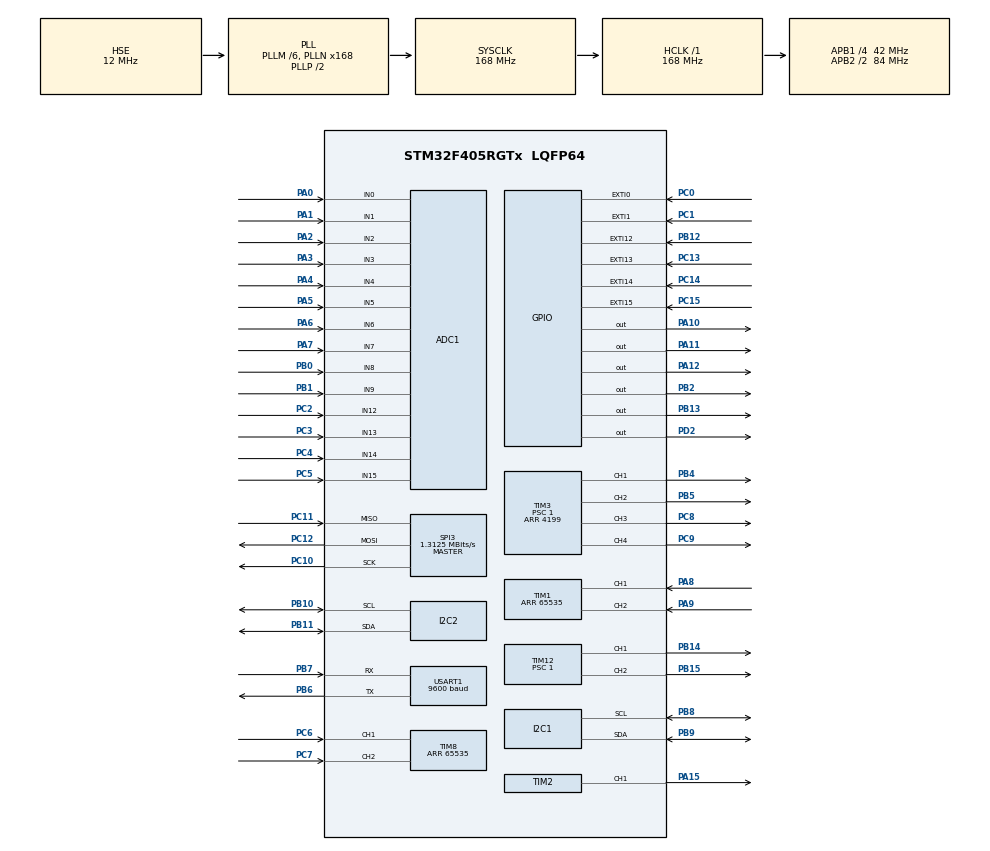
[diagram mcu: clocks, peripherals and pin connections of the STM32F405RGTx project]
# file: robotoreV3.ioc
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ADC1.Channel-0\#ChannelRegularConversion=ADC_CHANNEL_0
ADC1.Channel-1\#ChannelRegularConversion=ADC_CHANNEL_1
ADC1.Channel-10\#ChannelRegularConversion=ADC_CHANNEL_14
ADC1.Channel-11\#ChannelRegularConversion=ADC_CHANNEL_15
ADC1.Channel-12\#ChannelRegularConversion=ADC_CHANNEL_12
ADC1.Channel-13\#ChannelRegularConversion=ADC_CHANNEL_13
ADC1.Channel-2\#ChannelRegularConversion=ADC_CHANNEL_2
ADC1.Channel-3\#ChannelRegularConversion=ADC_CHANNEL_3
ADC1.Channel-4\#ChannelRegularConversion=ADC_CHANNEL_4
ADC1.Channel-5\#ChannelRegularConversion=ADC_CHANNEL_5
ADC1.Channel-6\#ChannelRegularConversion=ADC_CHANNEL_6
ADC1.Channel-7\#ChannelRegularConversion=ADC_CHANNEL_7
ADC1.Channel-8\#ChannelRegularConversion=ADC_CHANNEL_8
ADC1.Channel-9\#ChannelRegularConversion=ADC_CHANNEL_9
ADC1.ContinuousConvMode=ENABLE
ADC1.DMAContinuousRequests=ENABLE
ADC1.InjNumberOfConversion=0
ADC1.NbrOfConversion=14
ADC1.NbrOfConversionFlag=1
ADC1.Rank-0\#ChannelRegularConversion=1
ADC1.Rank-1\#ChannelRegularConversion=2
ADC1.Rank-10\#ChannelRegularConversion=11
ADC1.Rank-11\#ChannelRegularConversion=12
ADC1.Rank-12\#ChannelRegularConversion=13
ADC1.Rank-13\#ChannelRegularConversion=14
ADC1.Rank-2\#ChannelRegularConversion=3
ADC1.Rank-3\#ChannelRegularConversion=4
ADC1.Rank-4\#ChannelRegularConversion=5
ADC1.Rank-5\#ChannelRegularConversion=6
ADC1.Rank-6\#ChannelRegularConversion=7
ADC1.Rank-7\#ChannelRegularConversion=8
ADC1.Rank-8\#ChannelRegularConversion=9
ADC1.Rank-9\#ChannelRegularConversion=10
ADC1.SamplingTime-0\#ChannelRegularConversion=ADC_SAMPLETIME_28CYCLES
ADC1.SamplingTime-1\#ChannelRegularConversion=ADC_SAMPLETIME_28CYCLES
ADC1.SamplingTime-10\#ChannelRegularConversion=ADC_SAMPLETIME_28CYCLES
ADC1.SamplingTime-11\#ChannelRegularConversion=ADC_SAMPLETIME_28CYCLES
ADC1.SamplingTime-12\#ChannelRegularConversion=ADC_SAMPLETIME_28CYCLES
ADC1.SamplingTime-13\#ChannelRegularConversion=ADC_SAMPLETIME_28CYCLES
ADC1.SamplingTime-2\#ChannelRegularConversion=ADC_SAMPLETIME_28CYCLES
ADC1.SamplingTime-3\#ChannelRegularConversion=ADC_SAMPLETIME_28CYCLES
ADC1.SamplingTime-4\#ChannelRegularConversion=ADC_SAMPLETIME_28CYCLES
ADC1.SamplingTime-5\#ChannelRegularConversion=ADC_SAMPLETIME_28CYCLES
ADC1.SamplingTime-6\#ChannelRegularConversion=ADC_SAMPLETIME_28CYCLES
ADC1.SamplingTime-7\#ChannelRegularConversion=ADC_SAMPLETIME_28CYCLES
ADC1.SamplingTime-8\#ChannelRegularConversion=ADC_SAMPLETIME_28CYCLES
ADC1.SamplingTime-9\#ChannelRegularConversion=ADC_SAMPLETIME_28CYCLES
ADC1.ScanConvMode=ENABLE
ADC1.master=1
Dma.ADC1.0.Direction=DMA_PERIPH_TO_MEMORY
Dma.ADC1.0.FIFOMode=DMA_FIFOMODE_DISABLE
Dma.ADC1.0.Instance=DMA2_Stream0
Dma.ADC1.0.MemDataAlignment=DMA_MDATAALIGN_HALFWORD
Dma.ADC1.0.MemInc=DMA_MINC_ENABLE
Dma.ADC1.0.Mode=DMA_CIRCULAR
Dma.ADC1.0.PeriphDataAlignment=DMA_PDATAALIGN_HALFWORD
Dma.ADC1.0.PeriphInc=DMA_PINC_DISABLE
Dma.ADC1.0.Priority=DMA_PRIORITY_LOW
Dma.Request0=ADC1
I2C1.I2C_Mode=I2C_Fast
Mcu.Family=STM32F4
Mcu.Name=STM32F405RGTx
Mcu.Package=LQFP64
NVIC.DMA2_Stream0_IRQn=true\:5\:0\:true\:false\:true\:false\:true
NVIC.EXTI0_IRQn=true\:0\:0\:false\:false\:true\:true\:true
NVIC.EXTI15_10_IRQn=true\:0\:0\:false\:false\:true\:true\:true
NVIC.EXTI1_IRQn=true\:0\:0\:false\:false\:true\:true\:true
NVIC.PriorityGroup=NVIC_PRIORITYGROUP_4
NVIC.TIM6_DAC_IRQn=true\:5\:0\:true\:false\:true\:true\:true
NVIC.TIM7_IRQn=true\:5\:0\:true\:false\:true\:true\:true
PA0-WKUP.Signal=ADCx_IN0
PA1.Signal=ADCx_IN1
PA10.GPIO_Speed=GPIO_SPEED_FREQ_HIGH
PA10.Signal=GPIO_Output
PA11.GPIO_Speed=GPIO_SPEED_FREQ_HIGH
PA11.Signal=GPIO_Output
PA12.Signal=GPIO_Output
PA13.Mode=Trace_Asynchronous_SW
PA13.Signal=SYS_JTMS-SWDIO
PA14.Mode=Trace_Asynchronous_SW
PA14.Signal=SYS_JTCK-SWCLK
PA15.Signal=S_TIM2_CH1_ETR
PA2.Signal=ADCx_IN2
PA3.Signal=ADCx_IN3
PA4.Signal=ADCx_IN4
PA5.Signal=ADCx_IN5
PA6.Signal=ADCx_IN6
PA7.Signal=ADCx_IN7
PA8.Signal=S_TIM1_CH1
PA9.Signal=S_TIM1_CH2
PB0.Signal=ADCx_IN8
PB1.Signal=ADCx_IN9
PB10.Mode=I2C
PB10.Signal=I2C2_SCL
PB11.Mode=I2C
PB11.Signal=I2C2_SDA
PB12.GPIO_PuPd=GPIO_PULLUP
PB12.Signal=GPXTI12
PB13.Signal=GPIO_Output
PB14.Signal=S_TIM12_CH1
PB15.Signal=S_TIM12_CH2
PB2.Signal=GPIO_Output
PB3.Mode=Trace_Asynchronous_SW
PB3.Signal=SYS_JTDO-SWO
PB4.Signal=S_TIM3_CH1
PB5.Signal=S_TIM3_CH2
PB6.Mode=Asynchronous
PB6.Signal=USART1_TX
PB7.Mode=Asynchronous
PB7.Signal=USART1_RX
PB8.Mode=I2C
PB8.Signal=I2C1_SCL
PB9.Mode=I2C
PB9.Signal=I2C1_SDA
PC0.GPIO_ModeDefaultEXTI=GPIO_MODE_IT_RISING
PC0.GPIO_PuPd=GPIO_PULLUP
PC0.Signal=GPXTI0
PC1.GPIO_PuPd=GPIO_PULLUP
PC1.Signal=GPXTI1
PC10.Mode=Full_Duplex_Master
PC10.Signal=SPI3_SCK
PC11.Mode=Full_Duplex_Master
PC11.Signal=SPI3_MISO
PC12.Mode=Full_Duplex_Master
PC12.Signal=SPI3_MOSI
PC13-ANTI_TAMP.GPIO_PuPd=GPIO_PULLUP
PC13-ANTI_TAMP.Signal=GPXTI13
PC14-OSC32_IN.GPIO_ModeDefaultEXTI=GPIO_MODE_IT_RISING
PC14-OSC32_IN.GPIO_PuPd=GPIO_PULLUP
PC14-OSC32_IN.Signal=GPXTI14
PC15-OSC32_OUT.GPIO_PuPd=GPIO_PULLUP
PC15-OSC32_OUT.Signal=GPXTI15
PC2.Signal=ADCx_IN12
PC3.Signal=ADCx_IN13
PC4.Signal=ADCx_IN14
PC5.Signal=ADCx_IN15
PC6.Signal=S_TIM8_CH1
PC7.Signal=S_TIM8_CH2
PC8.Signal=S_TIM3_CH3
PC9.Signal=S_TIM3_CH4
PD2.GPIO_Speed=GPIO_SPEED_FREQ_VERY_HIGH
PD2.PinState=GPIO_PIN_RESET
PD2.Signal=GPIO_Output
PH0-OSC_IN.Mode=HSE-External-Clock-Source
PH0-OSC_IN.Signal=RCC_OSC_IN
PH1-OSC_OUT.Mode=HSE-External-Clock-Source
PH1-OSC_OUT.Signal=RCC_OSC_OUT
ProjectManager.HeapSize=0x200
ProjectManager.StackSize=0x400
ProjectManager.TargetToolchain=STM32CubeIDE
RCC.48MHZClocksFreq_Value=84000000
RCC.AHBFreq_Value=168000000
RCC.APB1CLKDivider=RCC_HCLK_DIV4
RCC.APB1Freq_Value=42000000
RCC.APB1TimFreq_Value=84000000
RCC.APB2CLKDivider=RCC_HCLK_DIV2
RCC.APB2Freq_Value=84000000
RCC.APB2TimFreq_Value=168000000
RCC.CortexFreq_Value=168000000
RCC.HCLKFreq_Value=168000000
RCC.HSE_VALUE=12000000
RCC.HSI_VALUE=16000000
RCC.LSE_VALUE=32768
RCC.PLLM=6
RCC.PLLN=168
RCC.PLLSourceVirtual=RCC_PLLSOURCE_HSE
RCC.SYSCLKFreq_VALUE=168000000
RCC.SYSCLKSource=RCC_SYSCLKSOURCE_PLLCLK
RCC.VCOOutputFreq_Value=336000000
SH.ADCx_IN0.0=ADC1_IN0,IN0
SH.ADCx_IN1.0=ADC1_IN1,IN1
SH.ADCx_IN12.0=ADC1_IN12,IN12
SH.ADCx_IN13.0=ADC1_IN13,IN13
SH.ADCx_IN14.0=ADC1_IN14,IN14
SH.ADCx_IN15.0=ADC1_IN15,IN15
SH.ADCx_IN2.0=ADC1_IN2,IN2
SH.ADCx_IN3.0=ADC1_IN3,IN3
SH.ADCx_IN4.0=ADC1_IN4,IN4
SH.ADCx_IN5.0=ADC1_IN5,IN5
SH.ADCx_IN6.0=ADC1_IN6,IN6
SH.ADCx_IN7.0=ADC1_IN7,IN7
SH.ADCx_IN8.0=ADC1_IN8,IN8
SH.ADCx_IN9.0=ADC1_IN9,IN9
SH.S_TIM12_CH1.0=TIM12_CH1,PWM Generation1 CH1
SH.S_TIM12_CH2.0=TIM12_CH2,PWM Generation2 CH2
SH.S_TIM1_CH1.0=TIM1_CH1,Encoder_Interface
SH.S_TIM1_CH2.0=TIM1_CH2,Encoder_Interface
SH.S_TIM2_CH1_ETR.0=TIM2_CH1,PWM Generation1 CH1
SH.S_TIM3_CH1.0=TIM3_CH1,PWM Generation1 CH1
SH.S_TIM3_CH2.0=TIM3_CH2,PWM Generation2 CH2
SH.S_TIM3_CH3.0=TIM3_CH3,PWM Generation3 CH3
SH.S_TIM3_CH4.0=TIM3_CH4,PWM Generation4 CH4
SH.S_TIM8_CH1.0=TIM8_CH1,Encoder_Interface
SH.S_TIM8_CH2.0=TIM8_CH2,Encoder_Interface
SPI3.BaudRatePrescaler=SPI_BAUDRATEPRESCALER_32
SPI3.CLKPhase=SPI_PHASE_2EDGE
SPI3.CLKPolarity=SPI_POLARITY_HIGH
SPI3.CalculateBaudRate=1.3125 MBits/s
SPI3.Direction=SPI_DIRECTION_2LINES
SPI3.Mode=SPI_MODE_MASTER
SPI3.VirtualType=VM_MASTER
TIM1.EncoderMode=TIM_ENCODERMODE_TI12
TIM1.IC1Polarity=TIM_ICPOLARITY_FALLING
TIM1.IC2Polarity=TIM_ICPOLARITY_FALLING
TIM1.Period=65535
TIM12.Channel-PWM\ Generation1\ CH1=TIM_CHANNEL_1
TIM12.Channel-PWM\ Generation2\ CH2=TIM_CHANNEL_2
TIM12.Period=839
TIM12.Prescaler=1
TIM2.Channel-PWM\ Generation1\ CH1=TIM_CHANNEL_1
TIM2.Period=4199
TIM2.Prescaler=1
TIM3.Channel-PWM\ Generation1\ CH1=TIM_CHANNEL_1
TIM3.Channel-PWM\ Generation2\ CH2=TIM_CHANNEL_2
TIM3.Channel-PWM\ Generation3\ CH3=TIM_CHANNEL_3
TIM3.Channel-PWM\ Generation4\ CH4=TIM_CHANNEL_4
TIM3.Period=4199
TIM3.Prescaler=1
TIM6.Period=4199
TIM6.Prescaler=19
TIM7.Period=4999
TIM7.Prescaler=167
TIM8.EncoderMode=TIM_ENCODERMODE_TI12
TIM8.IC1Polarity=TIM_ICPOLARITY_FALLING
TIM8.IC2Polarity=TIM_ICPOLARITY_FALLING
TIM8.Period=65535
USART1.BaudRate=9600
USART1.VirtualMode=VM_ASYNC
VP_TIM6_VS_ClockSourceINT.Mode=Enable_Timer
VP_TIM7_VS_ClockSourceINT.Mode=Enable_Timer
board=custom

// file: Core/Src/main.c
/* USER CODE BEGIN Header */
/**
  ******************************************************************************
  * @file           : main.c
  * @brief          : Main program body
  ******************************************************************************
  * @attention
  *
  * <h2><center>&copy; Copyright (c) 2022 STMicroelectronics.
  * All rights reserved.</center></h2>
  *
  * This software component is licensed by ST under BSD 3-Clause license,
  * the "License"; You may not use this file except in compliance with the
  * License. You may obtain a copy of the License at:
  *                        opensource.org/licenses/BSD-3-Clause
  *
  ******************************************************************************
  */
/* USER CODE END Header */

#include "main.h"

/* USER CODE BEGIN Includes */
#include "sensor.h"
#include "AQM0802.h"
#include "motor_control.h"
#include "setup.h"

/* USER CODE END Includes */

ADC_HandleTypeDef hadc1;
DMA_HandleTypeDef hdma_adc1;

I2C_HandleTypeDef hi2c1;
I2C_HandleTypeDef hi2c2;

SPI_HandleTypeDef hspi3;

TIM_HandleTypeDef htim1;
TIM_HandleTypeDef htim2;
TIM_HandleTypeDef htim3;
TIM_HandleTypeDef htim6;
TIM_HandleTypeDef htim7;
TIM_HandleTypeDef htim8;
TIM_HandleTypeDef htim12;

UART_HandleTypeDef huart1;

void SystemClock_Config(void);
static void MX_GPIO_Init(void);
static void MX_DMA_Init(void);
static void MX_ADC1_Init(void);
static void MX_I2C1_Init(void);
static void MX_I2C2_Init(void);
static void MX_SPI3_Init(void);
static void MX_TIM1_Init(void);
static void MX_TIM2_Init(void);
static void MX_TIM3_Init(void);
static void MX_TIM8_Init(void);
static void MX_TIM12_Init(void);
static void MX_USART1_UART_Init(void);
static void MX_TIM6_Init(void);
static void MX_TIM7_Init(void);

/* USER CODE BEGIN 0 */
void init(void){
	gpio_set();
	lcd_init();
	//INA260_init();
	/*
	if( IMU_init() == 1 ) {
		lcd_locate(0,0);
		lcd_print("WHO_AM_I");
		lcd_locate(0,1);
		lcd_print("SUCCESS");
	}
	else {
		lcd_locate(0,0);
		lcd_print("WHO_AM_I");
		lcd_locate(0,1);
		lcd_print("Failed");
	}
	*/
	//set_encoder
	HAL_TIM_Encoder_Start(&htim1,TIM_CHANNEL_ALL);
	HAL_TIM_Encoder_Start(&htim8,TIM_CHANNEL_ALL);
	//set_motordrive
	HAL_TIM_PWM_Start(&htim12, TIM_CHANNEL_1);
	HAL_TIM_PWM_Start(&htim12, TIM_CHANNEL_2);
	__HAL_TIM_SET_COMPARE(&htim12, TIM_CHANNEL_1, 0);
	__HAL_TIM_SET_COMPARE(&htim12, TIM_CHANNEL_2, 0);
	//set_buzzer
	HAL_TIM_PWM_Start(&htim2, TIM_CHANNEL_1);
	__HAL_TIM_SET_COMPARE(&htim2, TIM_CHANNEL_1, 0);
	//set_4in1-esc
	//HAL_TIM_PWM_Start(&htim3, TIM_CHANNEL_1);
	//HAL_TIM_PWM_Start(&htim3, TIM_CHANNEL_2);
	//HAL_TIM_PWM_Start(&htim3, TIM_CHANNEL_3);
	//HAL_TIM_PWM_Start(&htim3, TIM_CHANNEL_4);
	//__HAL_TIM_SET_COMPARE(&htim3, TIM_CHANNEL_1, ESC_MIN);
	//__HAL_TIM_SET_COMPARE(&htim3, TIM_CHANNEL_2, ESC_MIN);
	//__HAL_TIM_SET_COMPARE(&htim3, TIM_CHANNEL_3, ESC_MIN);
	//__HAL_TIM_SET_COMPARE(&htim3, TIM_CHANNEL_4, ESC_MIN);
	//set_timer
	HAL_TIM_Base_Start_IT(&htim6);//[:]
	HAL_TIM_Base_Start_IT(&htim7);
	//ADC
	HAL_ADC_Start_DMA(&hadc1, (uint32_t *) ADC1_Buff, ADC_DATA_BUFFR_SIZE);

	//log_adress = start_adress_sector7;
	//plan_velo_adress = start_adress_sector10;

}

void HAL_TIM_PeriodElapsedCallback(TIM_HandleTypeDef *htim) {

	//uint64_t enc_cnt_10ms;

	if(htim->Instance == htim6.Instance){	//1ms

		cnt_sw++;
		if(cnt_sw >= 250) cnt_sw = 30;

		getEncoder();
		posPID();
		velPID(target_vel);
		//read_gyro_data();
		//read_accel_data();
		ADval_get();
		ADval_sum();
		CrossCheck(CROSSCHECK);
		Maker_Check();

		timer++;

/*		if(line_sen12 <= 500){
			Sensor_st = 1;

		}
		else{
			Sensor_st = 0;
		}

		if(line_sen13 <= 500){
			Sensor_st = 2;
		}
		else{
			Sensor_st = 0;
		}
		if(line_sen12 <= 500 && line_sen13 <= 500){
			Sensor_st = 3;
		}
		else{
			Sensor_st = 0;
		}*/

		if(main_pattern){

			motor_pwmL = order_velL + order_posL;
			motor_pwmR = order_velR + order_posR;

			Motorset((int16_t)(order_velL + order_posL), (int16_t)(order_velR + order_posR), 0);
			//Motorset((int16_t)(140 + order_posL), (int16_t)(140 + order_posR), 0);
			//Motorset(order_posL, order_posR, 0);
//			Motorset(order_velL, order_velR, 0);
			//Motorset(-100, -100, 0);

			/*if(MR_flag == 1  ){
				MR_flag = 0 ;

			}else*/
			if(GL_flag == 2 ){
				main_pattern = 11;
				timer = 0;
			}

		}

		 if(main_pattern == 11){
			Motorset((int16_t)(order_posL), (int16_t)(order_posR), 0);
			if(timer >= 50){
				main_pattern = 12;
			}
		}
		if(main_pattern == 12){
			Motorset((int16_t)(order_posL), (int16_t)(order_posR), 0);
			//main_pattern = 12;
		}

	}

}

/* USER CODE END 0 */

int main(void)
{

  /* MCU Configuration--------------------------------------------------------*/

  /* Reset of all peripherals, Initializes the Flash interface and the Systick. */
  HAL_Init();

  /* Configure the system clock */
  SystemClock_Config();

  /* Initialize all configured peripherals */
  MX_GPIO_Init();
  MX_DMA_Init();
  MX_ADC1_Init();
  MX_I2C1_Init();
  MX_I2C2_Init();
  MX_SPI3_Init();
  MX_TIM1_Init();
  MX_TIM2_Init();
  MX_TIM3_Init();
  MX_TIM8_Init();
  MX_TIM12_Init();
  MX_USART1_UART_Init();
  MX_TIM6_Init();
  MX_TIM7_Init();

  /* Infinite loop */
  /* USER CODE BEGIN WHILE */

  init();

  while (1)
  {
	  setup();
    /* USER CODE END WHILE */

  }
}

void SystemClock_Config(void)
{
  RCC_OscInitTypeDef RCC_OscInitStruct = {0};
  RCC_ClkInitTypeDef RCC_ClkInitStruct = {0};

  /** Configure the main internal regulator output voltage
  */
  __HAL_RCC_PWR_CLK_ENABLE();
  __HAL_PWR_VOLTAGESCALING_CONFIG(PWR_REGULATOR_VOLTAGE_SCALE1);
  /** Initializes the CPU, AHB and APB busses clocks
  */
  RCC_OscInitStruct.OscillatorType = RCC_OSCILLATORTYPE_HSE;
  RCC_OscInitStruct.HSEState = RCC_HSE_BYPASS;
  RCC_OscInitStruct.PLL.PLLState = RCC_PLL_ON;
  RCC_OscInitStruct.PLL.PLLSource = RCC_PLLSOURCE_HSE;
  RCC_OscInitStruct.PLL.PLLM = 6;
  RCC_OscInitStruct.PLL.PLLN = 168;
  RCC_OscInitStruct.PLL.PLLP = RCC_PLLP_DIV2;
  RCC_OscInitStruct.PLL.PLLQ = 4;
  if (HAL_RCC_OscConfig(&RCC_OscInitStruct) != HAL_OK)
  {
    Error_Handler();
  }
  /** Initializes the CPU, AHB and APB busses clocks
  */
  RCC_ClkInitStruct.ClockType = RCC_CLOCKTYPE_HCLK|RCC_CLOCKTYPE_SYSCLK
                              |RCC_CLOCKTYPE_PCLK1|RCC_CLOCKTYPE_PCLK2;
  RCC_ClkInitStruct.SYSCLKSource = RCC_SYSCLKSOURCE_PLLCLK;
  RCC_ClkInitStruct.AHBCLKDivider = RCC_SYSCLK_DIV1;
  RCC_ClkInitStruct.APB1CLKDivider = RCC_HCLK_DIV4;
  RCC_ClkInitStruct.APB2CLKDivider = RCC_HCLK_DIV2;

  if (HAL_RCC_ClockConfig(&RCC_ClkInitStruct, FLASH_LATENCY_5) != HAL_OK)
  {
    Error_Handler();
  }
}

static void MX_ADC1_Init(void)
{

  ADC_ChannelConfTypeDef sConfig = {0};

  /** Configure the global features of the ADC (Clock, Resolution, Data Alignment and number of conversion)
  */
  hadc1.Instance = ADC1;
  hadc1.Init.ClockPrescaler = ADC_CLOCK_SYNC_PCLK_DIV4;
  hadc1.Init.Resolution = ADC_RESOLUTION_12B;
  hadc1.Init.ScanConvMode = ENABLE;
  hadc1.Init.ContinuousConvMode = ENABLE;
  hadc1.Init.DiscontinuousConvMode = DISABLE;
  hadc1.Init.ExternalTrigConvEdge = ADC_EXTERNALTRIGCONVEDGE_NONE;
  hadc1.Init.ExternalTrigConv = ADC_SOFTWARE_START;
  hadc1.Init.DataAlign = ADC_DATAALIGN_RIGHT;
  hadc1.Init.NbrOfConversion = 14;
  hadc1.Init.DMAContinuousRequests = ENABLE;
  hadc1.Init.EOCSelection = ADC_EOC_SINGLE_CONV;
  if (HAL_ADC_Init(&hadc1) != HAL_OK)
  {
    Error_Handler();
  }
  /** Configure for the selected ADC regular channel its corresponding rank in the sequencer and its sample time.
  */
  sConfig.Channel = ADC_CHANNEL_0;
  sConfig.Rank = 1;
  sConfig.SamplingTime = ADC_SAMPLETIME_28CYCLES;
  if (HAL_ADC_ConfigChannel(&hadc1, &sConfig) != HAL_OK)
  {
    Error_Handler();
  }
  /** Configure for the selected ADC regular channel its corresponding rank in the sequencer and its sample time.
  */
  sConfig.Channel = ADC_CHANNEL_1;
  sConfig.Rank = 2;
  if (HAL_ADC_ConfigChannel(&hadc1, &sConfig) != HAL_OK)
  {
    Error_Handler();
  }
  /** Configure for the selected ADC regular channel its corresponding rank in the sequencer and its sample time.
  */
  sConfig.Channel = ADC_CHANNEL_2;
  sConfig.Rank = 3;
  if (HAL_ADC_ConfigChannel(&hadc1, &sConfig) != HAL_OK)
  {
    Error_Handler();
  }
  /** Configure for the selected ADC regular channel its corresponding rank in the sequencer and its sample time.
  */
  sConfig.Channel = ADC_CHANNEL_3;
  sConfig.Rank = 4;
  if (HAL_ADC_ConfigChannel(&hadc1, &sConfig) != HAL_OK)
  {
    Error_Handler();
  }
  /** Configure for the selected ADC regular channel its corresponding rank in the sequencer and its sample time.
  */
  sConfig.Channel = ADC_CHANNEL_4;
  sConfig.Rank = 5;
  if (HAL_ADC_ConfigChannel(&hadc1, &sConfig) != HAL_OK)
  {
    Error_Handler();
  }
  /** Configure for the selected ADC regular channel its corresponding rank in the sequencer and its sample time.
  */
  sConfig.Channel = ADC_CHANNEL_5;
  sConfig.Rank = 6;
  if (HAL_ADC_ConfigChannel(&hadc1, &sConfig) != HAL_OK)
  {
    Error_Handler();
  }
  /** Configure for the selected ADC regular channel its corresponding rank in the sequencer and its sample time.
  */
  sConfig.Channel = ADC_CHANNEL_6;
  sConfig.Rank = 7;
  if (HAL_ADC_ConfigChannel(&hadc1, &sConfig) != HAL_OK)
  {
    Error_Handler();
  }
  /** Configure for the selected ADC regular channel its corresponding rank in the sequencer and its sample time.
  */
  sConfig.Channel = ADC_CHANNEL_7;
  sConfig.Rank = 8;
  if (HAL_ADC_ConfigChannel(&hadc1, &sConfig) != HAL_OK)
  {
    Error_Handler();
  }
  /** Configure for the selected ADC regular channel its corresponding rank in the sequencer and its sample time.
  */
  sConfig.Channel = ADC_CHANNEL_8;
  sConfig.Rank = 9;
  if (HAL_ADC_ConfigChannel(&hadc1, &sConfig) != HAL_OK)
  {
    Error_Handler();
  }
  /** Configure for the selected ADC regular channel its corresponding rank in the sequencer and its sample time.
  */
  sConfig.Channel = ADC_CHANNEL_9;
  sConfig.Rank = 10;
  if (HAL_ADC_ConfigChannel(&hadc1, &sConfig) != HAL_OK)
  {
    Error_Handler();
  }
  /** Configure for the selected ADC regular channel its corresponding rank in the sequencer and its sample time.
  */
  sConfig.Channel = ADC_CHANNEL_14;
  sConfig.Rank = 11;
  if (HAL_ADC_ConfigChannel(&hadc1, &sConfig) != HAL_OK)
  {
    Error_Handler();
  }
  /** Configure for the selected ADC regular channel its corresponding rank in the sequencer and its sample time.
  */
  sConfig.Channel = ADC_CHANNEL_15;
  sConfig.Rank = 12;
  if (HAL_ADC_ConfigChannel(&hadc1, &sConfig) != HAL_OK)
  {
    Error_Handler();
  }
  /** Configure for the selected ADC regular channel its corresponding rank in the sequencer and its sample time.
  */
  sConfig.Channel = ADC_CHANNEL_12;
  sConfig.Rank = 13;
  if (HAL_ADC_ConfigChannel(&hadc1, &sConfig) != HAL_OK)
  {
    Error_Handler();
  }
  /** Configure for the selected ADC regular channel its corresponding rank in the sequencer and its sample time.
  */
  sConfig.Channel = ADC_CHANNEL_13;
  sConfig.Rank = 14;
  if (HAL_ADC_ConfigChannel(&hadc1, &sConfig) != HAL_OK)
  {
    Error_Handler();
  }

}

static void MX_I2C1_Init(void)
{

  hi2c1.Instance = I2C1;
  hi2c1.Init.ClockSpeed = 400000;
  hi2c1.Init.DutyCycle = I2C_DUTYCYCLE_2;
  hi2c1.Init.OwnAddress1 = 0;
  hi2c1.Init.AddressingMode = I2C_ADDRESSINGMODE_7BIT;
  hi2c1.Init.DualAddressMode = I2C_DUALADDRESS_DISABLE;
  hi2c1.Init.OwnAddress2 = 0;
  hi2c1.Init.GeneralCallMode = I2C_GENERALCALL_DISABLE;
  hi2c1.Init.NoStretchMode = I2C_NOSTRETCH_DISABLE;
  if (HAL_I2C_Init(&hi2c1) != HAL_OK)
  {
    Error_Handler();
  }

}

static void MX_I2C2_Init(void)
{

  hi2c2.Instance = I2C2;
  hi2c2.Init.ClockSpeed = 100000;
  hi2c2.Init.DutyCycle = I2C_DUTYCYCLE_2;
  hi2c2.Init.OwnAddress1 = 0;
  hi2c2.Init.AddressingMode = I2C_ADDRESSINGMODE_7BIT;
  hi2c2.Init.DualAddressMode = I2C_DUALADDRESS_DISABLE;
  hi2c2.Init.OwnAddress2 = 0;
  hi2c2.Init.GeneralCallMode = I2C_GENERALCALL_DISABLE;
  hi2c2.Init.NoStretchMode = I2C_NOSTRETCH_DISABLE;
  if (HAL_I2C_Init(&hi2c2) != HAL_OK)
  {
    Error_Handler();
  }

}

static void MX_SPI3_Init(void)
{

  /* SPI3 parameter configuration*/
  hspi3.Instance = SPI3;
  hspi3.Init.Mode = SPI_MODE_MASTER;
  hspi3.Init.Direction = SPI_DIRECTION_2LINES;
  hspi3.Init.DataSize = SPI_DATASIZE_8BIT;
  hspi3.Init.CLKPolarity = SPI_POLARITY_HIGH;
  hspi3.Init.CLKPhase = SPI_PHASE_2EDGE;
  hspi3.Init.NSS = SPI_NSS_SOFT;
  hspi3.Init.BaudRatePrescaler = SPI_BAUDRATEPRESCALER_32;
  hspi3.Init.FirstBit = SPI_FIRSTBIT_MSB;
  hspi3.Init.TIMode = SPI_TIMODE_DISABLE;
  hspi3.Init.CRCCalculation = SPI_CRCCALCULATION_DISABLE;
  hspi3.Init.CRCPolynomial = 10;
  if (HAL_SPI_Init(&hspi3) != HAL_OK)
  {
    Error_Handler();
  }

}

static void MX_TIM1_Init(void)
{

  TIM_Encoder_InitTypeDef sConfig = {0};
  TIM_MasterConfigTypeDef sMasterConfig = {0};

  htim1.Instance = TIM1;
  htim1.Init.Prescaler = 0;
  htim1.Init.CounterMode = TIM_COUNTERMODE_UP;
  htim1.Init.Period = 65535;
  htim1.Init.ClockDivision = TIM_CLOCKDIVISION_DIV1;
  htim1.Init.RepetitionCounter = 0;
  htim1.Init.AutoReloadPreload = TIM_AUTORELOAD_PRELOAD_DISABLE;
  sConfig.EncoderMode = TIM_ENCODERMODE_TI12;
  sConfig.IC1Polarity = TIM_ICPOLARITY_FALLING;
  sConfig.IC1Selection = TIM_ICSELECTION_DIRECTTI;
  sConfig.IC1Prescaler = TIM_ICPSC_DIV1;
  sConfig.IC1Filter = 0;
  sConfig.IC2Polarity = TIM_ICPOLARITY_FALLING;
  sConfig.IC2Selection = TIM_ICSELECTION_DIRECTTI;
  sConfig.IC2Prescaler = TIM_ICPSC_DIV1;
  sConfig.IC2Filter = 0;
  if (HAL_TIM_Encoder_Init(&htim1, &sConfig) != HAL_OK)
  {
    Error_Handler();
  }
  sMasterConfig.MasterOutputTrigger = TIM_TRGO_RESET;
  sMasterConfig.MasterSlaveMode = TIM_MASTERSLAVEMODE_DISABLE;
  if (HAL_TIMEx_MasterConfigSynchronization(&htim1, &sMasterConfig) != HAL_OK)
  {
    Error_Handler();
  }

}

static void MX_TIM2_Init(void)
{

  TIM_MasterConfigTypeDef sMasterConfig = {0};
  TIM_OC_InitTypeDef sConfigOC = {0};

  htim2.Instance = TIM2;
  htim2.Init.Prescaler = 1;
  htim2.Init.CounterMode = TIM_COUNTERMODE_UP;
  htim2.Init.Period = 4199;
  htim2.Init.ClockDivision = TIM_CLOCKDIVISION_DIV1;
  htim2.Init.AutoReloadPreload = TIM_AUTORELOAD_PRELOAD_DISABLE;
  if (HAL_TIM_PWM_Init(&htim2) != HAL_OK)
  {
    Error_Handler();
  }
  sMasterConfig.MasterOutputTrigger = TIM_TRGO_RESET;
  sMasterConfig.MasterSlaveMode = TIM_MASTERSLAVEMODE_DISABLE;
  if (HAL_TIMEx_MasterConfigSynchronization(&htim2, &sMasterConfig) != HAL_OK)
  {
    Error_Handler();
  }
  sConfigOC.OCMode = TIM_OCMODE_PWM1;
  sConfigOC.Pulse = 0;
  sConfigOC.OCPolarity = TIM_OCPOLARITY_HIGH;
  sConfigOC.OCFastMode = TIM_OCFAST_DISABLE;
  if (HAL_TIM_PWM_ConfigChannel(&htim2, &sConfigOC, TIM_CHANNEL_1) != HAL_OK)
  {
    Error_Handler();
  }
  HAL_TIM_MspPostInit(&htim2);

}

static void MX_TIM3_Init(void)
{

  TIM_MasterConfigTypeDef sMasterConfig = {0};
  TIM_OC_InitTypeDef sConfigOC = {0};

  htim3.Instance = TIM3;
  htim3.Init.Prescaler = 1;
  htim3.Init.CounterMode = TIM_COUNTERMODE_UP;
  htim3.Init.Period = 4199;
  htim3.Init.ClockDivision = TIM_CLOCKDIVISION_DIV1;
  htim3.Init.AutoReloadPreload = TIM_AUTORELOAD_PRELOAD_DISABLE;
  if (HAL_TIM_PWM_Init(&htim3) != HAL_OK)
  {
    Error_Handler();
  }
  sMasterConfig.MasterOutputTrigger = TIM_TRGO_RESET;
  sMasterConfig.MasterSlaveMode = TIM_MASTERSLAVEMODE_DISABLE;
  if (HAL_TIMEx_MasterConfigSynchronization(&htim3, &sMasterConfig) != HAL_OK)
  {
    Error_Handler();
  }
  sConfigOC.OCMode = TIM_OCMODE_PWM1;
  sConfigOC.Pulse = 0;
  sConfigOC.OCPolarity = TIM_OCPOLARITY_HIGH;
  sConfigOC.OCFastMode = TIM_OCFAST_DISABLE;
  if (HAL_TIM_PWM_ConfigChannel(&htim3, &sConfigOC, TIM_CHANNEL_1) != HAL_OK)
  {
    Error_Handler();
  }
  if (HAL_TIM_PWM_ConfigChannel(&htim3, &sConfigOC, TIM_CHANNEL_2) != HAL_OK)
  {
    Error_Handler();
  }
  if (HAL_TIM_PWM_ConfigChannel(&htim3, &sConfigOC, TIM_CHANNEL_3) != HAL_OK)
  {
    Error_Handler();
  }
  if (HAL_TIM_PWM_ConfigChannel(&htim3, &sConfigOC, TIM_CHANNEL_4) != HAL_OK)
  {
    Error_Handler();
  }
  HAL_TIM_MspPostInit(&htim3);

}

static void MX_TIM6_Init(void)
{

  TIM_MasterConfigTypeDef sMasterConfig = {0};

  htim6.Instance = TIM6;
  htim6.Init.Prescaler = 19;
  htim6.Init.CounterMode = TIM_COUNTERMODE_UP;
  htim6.Init.Period = 4199;
  htim6.Init.AutoReloadPreload = TIM_AUTORELOAD_PRELOAD_DISABLE;
  if (HAL_TIM_Base_Init(&htim6) != HAL_OK)
  {
    Error_Handler();
  }
  sMasterConfig.MasterOutputTrigger = TIM_TRGO_RESET;
  sMasterConfig.MasterSlaveMode = TIM_MASTERSLAVEMODE_DISABLE;
  if (HAL_TIMEx_MasterConfigSynchronization(&htim6, &sMasterConfig) != HAL_OK)
  {
    Error_Handler();
  }

}

static void MX_TIM7_Init(void)
{

  TIM_MasterConfigTypeDef sMasterConfig = {0};

  htim7.Instance = TIM7;
  htim7.Init.Prescaler = 167;
  htim7.Init.CounterMode = TIM_COUNTERMODE_UP;
  htim7.Init.Period = 4999;
  htim7.Init.AutoReloadPreload = TIM_AUTORELOAD_PRELOAD_DISABLE;
  if (HAL_TIM_Base_Init(&htim7) != HAL_OK)
  {
    Error_Handler();
  }
  sMasterConfig.MasterOutputTrigger = TIM_TRGO_RESET;
  sMasterConfig.MasterSlaveMode = TIM_MASTERSLAVEMODE_DISABLE;
  if (HAL_TIMEx_MasterConfigSynchronization(&htim7, &sMasterConfig) != HAL_OK)
  {
    Error_Handler();
  }

}

static void MX_TIM8_Init(void)
{

  TIM_Encoder_InitTypeDef sConfig = {0};
  TIM_MasterConfigTypeDef sMasterConfig = {0};

  htim8.Instance = TIM8;
  htim8.Init.Prescaler = 0;
  htim8.Init.CounterMode = TIM_COUNTERMODE_UP;
  htim8.Init.Period = 65535;
  htim8.Init.ClockDivision = TIM_CLOCKDIVISION_DIV1;
  htim8.Init.RepetitionCounter = 0;
  htim8.Init.AutoReloadPreload = TIM_AUTORELOAD_PRELOAD_DISABLE;
  sConfig.EncoderMode = TIM_ENCODERMODE_TI12;
  sConfig.IC1Polarity = TIM_ICPOLARITY_FALLING;
  sConfig.IC1Selection = TIM_ICSELECTION_DIRECTTI;
  sConfig.IC1Prescaler = TIM_ICPSC_DIV1;
  sConfig.IC1Filter = 0;
  sConfig.IC2Polarity = TIM_ICPOLARITY_FALLING;
  sConfig.IC2Selection = TIM_ICSELECTION_DIRECTTI;
  sConfig.IC2Prescaler = TIM_ICPSC_DIV1;
  sConfig.IC2Filter = 0;
  if (HAL_TIM_Encoder_Init(&htim8, &sConfig) != HAL_OK)
  {
    Error_Handler();
  }
  sMasterConfig.MasterOutputTrigger = TIM_TRGO_RESET;
  sMasterConfig.MasterSlaveMode = TIM_MASTERSLAVEMODE_DISABLE;
  if (HAL_TIMEx_MasterConfigSynchronization(&htim8, &sMasterConfig) != HAL_OK)
  {
    Error_Handler();
  }

}

static void MX_TIM12_Init(void)
{

  TIM_OC_InitTypeDef sConfigOC = {0};

  htim12.Instance = TIM12;
  htim12.Init.Prescaler = 1;
  htim12.Init.CounterMode = TIM_COUNTERMODE_UP;
  htim12.Init.Period = 839;
  htim12.Init.ClockDivision = TIM_CLOCKDIVISION_DIV1;
  htim12.Init.AutoReloadPreload = TIM_AUTORELOAD_PRELOAD_DISABLE;
  if (HAL_TIM_PWM_Init(&htim12) != HAL_OK)
  {
    Error_Handler();
  }
  sConfigOC.OCMode = TIM_OCMODE_PWM1;
  sConfigOC.Pulse = 0;
  sConfigOC.OCPolarity = TIM_OCPOLARITY_HIGH;
  sConfigOC.OCFastMode = TIM_OCFAST_DISABLE;
  if (HAL_TIM_PWM_ConfigChannel(&htim12, &sConfigOC, TIM_CHANNEL_1) != HAL_OK)
  {
    Error_Handler();
  }
  if (HAL_TIM_PWM_ConfigChannel(&htim12, &sConfigOC, TIM_CHANNEL_2) != HAL_OK)
  {
    Error_Handler();
  }
  HAL_TIM_MspPostInit(&htim12);

}

static void MX_USART1_UART_Init(void)
{

  huart1.Instance = USART1;
  huart1.Init.BaudRate = 9600;
  huart1.Init.WordLength = UART_WORDLENGTH_8B;
  huart1.Init.StopBits = UART_STOPBITS_1;
  huart1.Init.Parity = UART_PARITY_NONE;
  huart1.Init.Mode = UART_MODE_TX_RX;
  huart1.Init.HwFlowCtl = UART_HWCONTROL_NONE;
  huart1.Init.OverSampling = UART_OVERSAMPLING_16;
  if (HAL_UART_Init(&huart1) != HAL_OK)
  {
    Error_Handler();
  }

}

static void MX_DMA_Init(void)
{

  /* DMA controller clock enable */
  __HAL_RCC_DMA2_CLK_ENABLE();

  /* DMA interrupt init */
  /* DMA2_Stream0_IRQn interrupt configuration */
  HAL_NVIC_SetPriority(DMA2_Stream0_IRQn, 5, 0);
  HAL_NVIC_EnableIRQ(DMA2_Stream0_IRQn);

}

static void MX_GPIO_Init(void)
{
  GPIO_InitTypeDef GPIO_InitStruct = {0};

  /* GPIO Ports Clock Enable */
  __HAL_RCC_GPIOC_CLK_ENABLE();
  __HAL_RCC_GPIOH_CLK_ENABLE();
  __HAL_RCC_GPIOA_CLK_ENABLE();
  __HAL_RCC_GPIOB_CLK_ENABLE();
  __HAL_RCC_GPIOD_CLK_ENABLE();

  /*Configure GPIO pin Output Level */
  HAL_GPIO_WritePin(GPIOB, GPIO_PIN_2|GPIO_PIN_13, GPIO_PIN_RESET);

  /*Configure GPIO pin Output Level */
  HAL_GPIO_WritePin(GPIOA, GPIO_PIN_10|GPIO_PIN_11|GPIO_PIN_12, GPIO_PIN_RESET);

  /*Configure GPIO pin Output Level */
  HAL_GPIO_WritePin(GPIOD, GPIO_PIN_2, GPIO_PIN_RESET);

  /*Configure GPIO pins : PC13 PC14 PC15 PC0
                           PC1 */
  GPIO_InitStruct.Pin = GPIO_PIN_13|GPIO_PIN_14|GPIO_PIN_15|GPIO_PIN_0
                          |GPIO_PIN_1;
  GPIO_InitStruct.Mode = GPIO_MODE_IT_RISING;
  GPIO_InitStruct.Pull = GPIO_PULLUP;
  HAL_GPIO_Init(GPIOC, &GPIO_InitStruct);

  /*Configure GPIO pins : PB2 PB13 */
  GPIO_InitStruct.Pin = GPIO_PIN_2|GPIO_PIN_13;
  GPIO_InitStruct.Mode = GPIO_MODE_OUTPUT_PP;
  GPIO_InitStruct.Pull = GPIO_NOPULL;
  GPIO_InitStruct.Speed = GPIO_SPEED_FREQ_LOW;
  HAL_GPIO_Init(GPIOB, &GPIO_InitStruct);

  /*Configure GPIO pin : PB12 */
  GPIO_InitStruct.Pin = GPIO_PIN_12;
  GPIO_InitStruct.Mode = GPIO_MODE_IT_RISING;
  GPIO_InitStruct.Pull = GPIO_PULLUP;
  HAL_GPIO_Init(GPIOB, &GPIO_InitStruct);

  /*Configure GPIO pins : PA10 PA11 */
  GPIO_InitStruct.Pin = GPIO_PIN_10|GPIO_PIN_11;
  GPIO_InitStruct.Mode = GPIO_MODE_OUTPUT_PP;
  GPIO_InitStruct.Pull = GPIO_NOPULL;
  GPIO_InitStruct.Speed = GPIO_SPEED_FREQ_HIGH;
  HAL_GPIO_Init(GPIOA, &GPIO_InitStruct);

  /*Configure GPIO pin : PA12 */
  GPIO_InitStruct.Pin = GPIO_PIN_12;
  GPIO_InitStruct.Mode = GPIO_MODE_OUTPUT_PP;
  GPIO_InitStruct.Pull = GPIO_NOPULL;
  GPIO_InitStruct.Speed = GPIO_SPEED_FREQ_LOW;
  HAL_GPIO_Init(GPIOA, &GPIO_InitStruct);

  /*Configure GPIO pin : PD2 */
  GPIO_InitStruct.Pin = GPIO_PIN_2;
  GPIO_InitStruct.Mode = GPIO_MODE_OUTPUT_PP;
  GPIO_InitStruct.Pull = GPIO_NOPULL;
  GPIO_InitStruct.Speed = GPIO_SPEED_FREQ_VERY_HIGH;
  HAL_GPIO_Init(GPIOD, &GPIO_InitStruct);

  /* EXTI interrupt init*/
  HAL_NVIC_SetPriority(EXTI0_IRQn, 0, 0);
  HAL_NVIC_EnableIRQ(EXTI0_IRQn);

  HAL_NVIC_SetPriority(EXTI1_IRQn, 0, 0);
  HAL_NVIC_EnableIRQ(EXTI1_IRQn);

  HAL_NVIC_SetPriority(EXTI15_10_IRQn, 0, 0);
  HAL_NVIC_EnableIRQ(EXTI15_10_IRQn);

}

void Error_Handler(void)
{
}

/************************ (C) COPYRIGHT STMicroelectronics *****END OF FILE****/
